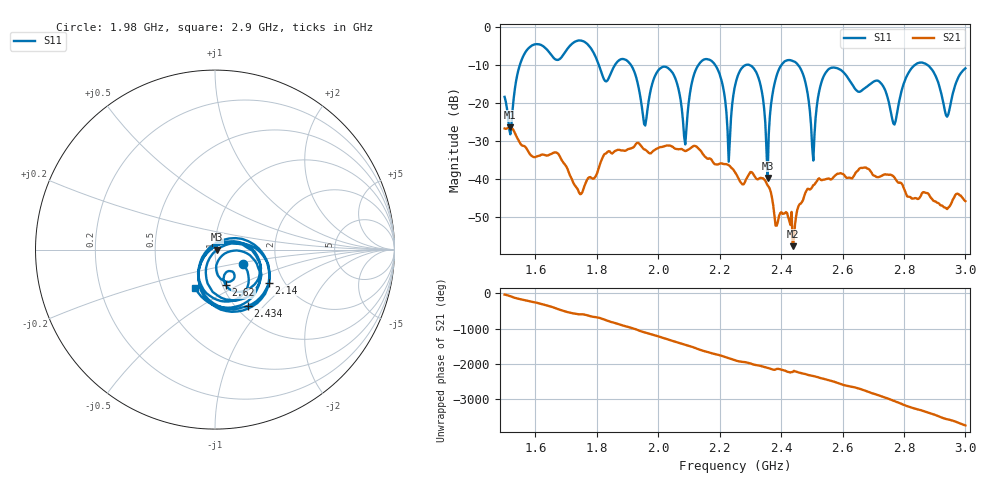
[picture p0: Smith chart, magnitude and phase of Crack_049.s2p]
# HZ S RI R 50
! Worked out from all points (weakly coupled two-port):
!   404 points, 1.5 GHz to 3 GHz, reference 50 ohm
!   highest |S21| = -26.46 dB at 1.519 GHz (marker M1); lowest = -57.8 dB at 2.438 GHz (marker M2)
!   lowest |S11| = -39.8 dB at 2.356 GHz (marker M3), VSWR 1.02, Z = 51 - j0.105 ohm
!   |S11| at or under -10 dB: 1.911 GHz to 2.131 GHz (219.3 MHz wide, 10.9 % of centre); 2.456 GHz to 2.835 GHz (379.7 MHz wide, 14.4 % of centre); 2.877 GHz to end of sweep (the widest 3 of 7)
!   S12 and S22 are empty: the file has one direction only
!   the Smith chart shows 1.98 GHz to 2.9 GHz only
!   S11 on the Smith chart (normalised r, x): 1.98 GHz: 1.35, -0.23; 2.14 GHz: 1.68, -0.70; 2.434 GHz: 1.13, -0.82; 2.62 GHz: 1.04, -0.43; 2.9 GHz: 0.74, -0.34
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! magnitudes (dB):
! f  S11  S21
! 1.5 GHz  -18.4  -26.7
! 1.519 GHz  -28.3  -26.5
! 1.574 GHz  -5.9  -32.5
! 1.753 GHz  -3.6  -43.5
! 1.954 GHz  -25.6  -32.3
! 1.98 GHz  -15.1  -33.0
! 2.002 GHz  -11.2  -31.8
! 2.088 GHz  -31.0  -32.7
! 2.14 GHz  -9.0  -32.8
! 2.23 GHz  -35.5  -36.4
! 2.252 GHz  -14.8  -38.5
! 2.315 GHz  -11.4  -39.5
! 2.356 GHz  -39.8  -41.8
! 2.434 GHz  -8.8  -48.8
! 2.438 GHz  -8.9  -57.8
! 2.501 GHz  -31.6  -42.2
! 2.546 GHz  -11.9  -40.1
! 2.62 GHz  -13.7  -39.7
! 2.751 GHz  -19.8  -39.0
! 2.9 GHz  -12.3  -45.9
! 2.94 GHz  -23.6  -48.0
! 3 GHz  -10.9  -45.9
